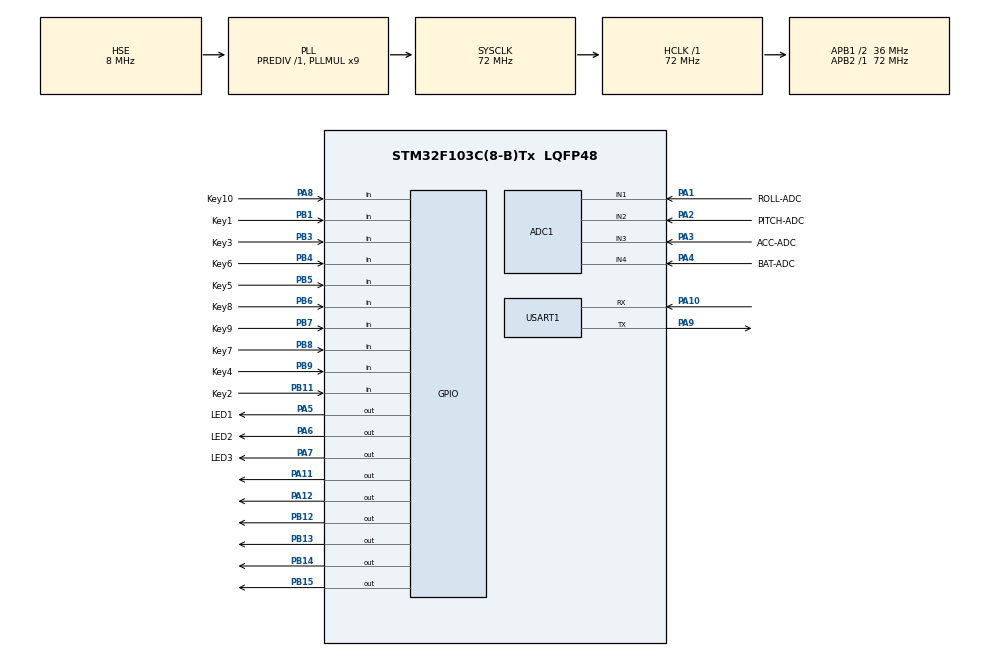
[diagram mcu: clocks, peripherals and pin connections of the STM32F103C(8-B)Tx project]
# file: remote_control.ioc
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ADC1.Channel-0\#ChannelRegularConversion=ADC_CHANNEL_1
ADC1.Channel-1\#ChannelRegularConversion=ADC_CHANNEL_2
ADC1.Channel-2\#ChannelRegularConversion=ADC_CHANNEL_3
ADC1.Channel-3\#ChannelRegularConversion=ADC_CHANNEL_4
ADC1.ContinuousConvMode=ENABLE
ADC1.NbrOfConversion=4
ADC1.NbrOfConversionFlag=1
ADC1.Rank-0\#ChannelRegularConversion=1
ADC1.Rank-1\#ChannelRegularConversion=2
ADC1.Rank-2\#ChannelRegularConversion=3
ADC1.Rank-3\#ChannelRegularConversion=4
ADC1.SamplingTime-0\#ChannelRegularConversion=ADC_SAMPLETIME_71CYCLES_5
ADC1.SamplingTime-1\#ChannelRegularConversion=ADC_SAMPLETIME_71CYCLES_5
ADC1.SamplingTime-2\#ChannelRegularConversion=ADC_SAMPLETIME_71CYCLES_5
ADC1.SamplingTime-3\#ChannelRegularConversion=ADC_SAMPLETIME_71CYCLES_5
ADC1.master=1
Dma.ADC1.0.Direction=DMA_PERIPH_TO_MEMORY
Dma.ADC1.0.Instance=DMA1_Channel1
Dma.ADC1.0.MemDataAlignment=DMA_MDATAALIGN_HALFWORD
Dma.ADC1.0.MemInc=DMA_MINC_ENABLE
Dma.ADC1.0.Mode=DMA_CIRCULAR
Dma.ADC1.0.PeriphDataAlignment=DMA_PDATAALIGN_HALFWORD
Dma.ADC1.0.PeriphInc=DMA_PINC_DISABLE
Dma.ADC1.0.Priority=DMA_PRIORITY_LOW
Dma.Request0=ADC1
Dma.Request1=USART1_RX
Dma.Request2=USART1_TX
Dma.USART1_RX.1.Direction=DMA_PERIPH_TO_MEMORY
Dma.USART1_RX.1.Instance=DMA1_Channel5
Dma.USART1_RX.1.MemDataAlignment=DMA_MDATAALIGN_BYTE
Dma.USART1_RX.1.MemInc=DMA_MINC_ENABLE
Dma.USART1_RX.1.Mode=DMA_NORMAL
Dma.USART1_RX.1.PeriphDataAlignment=DMA_PDATAALIGN_BYTE
Dma.USART1_RX.1.PeriphInc=DMA_PINC_DISABLE
Dma.USART1_RX.1.Priority=DMA_PRIORITY_LOW
Dma.USART1_TX.2.Direction=DMA_MEMORY_TO_PERIPH
Dma.USART1_TX.2.Instance=DMA1_Channel4
Dma.USART1_TX.2.MemDataAlignment=DMA_MDATAALIGN_BYTE
Dma.USART1_TX.2.MemInc=DMA_MINC_ENABLE
Dma.USART1_TX.2.Mode=DMA_NORMAL
Dma.USART1_TX.2.PeriphDataAlignment=DMA_PDATAALIGN_BYTE
Dma.USART1_TX.2.PeriphInc=DMA_PINC_DISABLE
Dma.USART1_TX.2.Priority=DMA_PRIORITY_LOW
Mcu.Family=STM32F1
Mcu.Name=STM32F103C(8-B)Tx
Mcu.Package=LQFP48
NVIC.DMA1_Channel1_IRQn=true\:0\:0\:false\:false\:true\:false\:true\:true
NVIC.DMA1_Channel4_IRQn=true\:0\:0\:false\:false\:true\:false\:true\:true
NVIC.DMA1_Channel5_IRQn=true\:0\:0\:false\:false\:true\:false\:true\:true
NVIC.PriorityGroup=NVIC_PRIORITYGROUP_4
NVIC.TIM1_UP_IRQn=true\:0\:0\:false\:false\:true\:true\:true\:true
NVIC.USART1_IRQn=true\:0\:0\:false\:false\:true\:true\:true\:true
PA1.GPIO_Label=ROLL-ADC
PA1.Signal=ADCx_IN1
PA10.Mode=Asynchronous
PA10.Signal=USART1_RX
PA11.PinState=GPIO_PIN_RESET
PA11.Signal=GPIO_Output
PA12.GPIO_ModeDefaultOutputPP=GPIO_MODE_OUTPUT_PP
PA12.GPIO_PuPd=GPIO_NOPULL
PA12.PinState=GPIO_PIN_SET
PA12.Signal=GPIO_Output
PA13.Mode=Serial_Wire
PA13.Signal=SYS_JTMS-SWDIO
PA14.Mode=Serial_Wire
PA14.Signal=SYS_JTCK-SWCLK
PA2.GPIO_Label=PITCH-ADC
PA2.Signal=ADCx_IN2
PA3.GPIO_Label=ACC-ADC
PA3.Signal=ADCx_IN3
PA4.GPIO_Label=BAT-ADC
PA4.Signal=ADCx_IN4
PA5.GPIO_Label=LED1
PA5.PinState=GPIO_PIN_SET
PA5.Signal=GPIO_Output
PA6.GPIO_Label=LED2
PA6.PinState=GPIO_PIN_SET
PA6.Signal=GPIO_Output
PA7.GPIO_Label=LED3
PA7.PinState=GPIO_PIN_SET
PA7.Signal=GPIO_Output
PA8.GPIO_Label=Key10
PA8.Signal=GPIO_Input
PA9.Mode=Asynchronous
PA9.Signal=USART1_TX
PB1.GPIO_Label=Key1
PB1.GPIO_Mode=GPIO_MODE_INPUT
PB1.GPIO_PuPd=GPIO_NOPULL
PB1.Signal=GPIO_Input
PB11.GPIO_Label=Key2
PB11.Signal=GPIO_Input
PB12.GPIO_ModeDefaultOutputPP=GPIO_MODE_OUTPUT_PP
PB12.GPIO_PuPd=GPIO_NOPULL
PB12.PinState=GPIO_PIN_RESET
PB12.Signal=GPIO_Output
PB13.GPIO_PuPd=GPIO_NOPULL
PB13.PinState=GPIO_PIN_RESET
PB13.Signal=GPIO_Output
PB14.GPIO_ModeDefaultOutputPP=GPIO_MODE_OUTPUT_PP
PB14.GPIO_PuPd=GPIO_NOPULL
PB14.PinState=GPIO_PIN_RESET
PB14.Signal=GPIO_Output
PB15.GPIO_ModeDefaultOutputPP=GPIO_MODE_OUTPUT_PP
PB15.GPIO_PuPd=GPIO_NOPULL
PB15.GPIO_Speed=GPIO_SPEED_FREQ_LOW
PB15.PinState=GPIO_PIN_RESET
PB15.Signal=GPIO_Output
PB3.GPIO_Label=Key3
PB3.Signal=GPIO_Input
PB4.GPIO_Label=Key6
PB4.Signal=GPIO_Input
PB5.GPIO_Label=Key5
PB5.Signal=GPIO_Input
PB6.GPIO_Label=Key8
PB6.Signal=GPIO_Input
PB7.GPIO_Label=Key9
PB7.Signal=GPIO_Input
PB8.GPIO_Label=Key7
PB8.Signal=GPIO_Input
PB9.GPIO_Label=Key4
PB9.Signal=GPIO_Input
PD0-OSC_IN.Mode=HSE-External-Oscillator
PD0-OSC_IN.Signal=RCC_OSC_IN
PD1-OSC_OUT.Mode=HSE-External-Oscillator
PD1-OSC_OUT.Signal=RCC_OSC_OUT
ProjectManager.HeapSize=0x200
ProjectManager.StackSize=0x400
ProjectManager.TargetToolchain=MDK-ARM V5.32
RCC.ADCPresc=RCC_ADCPCLK2_DIV6
RCC.AHBFreq_Value=72000000
RCC.APB1CLKDivider=RCC_HCLK_DIV2
RCC.APB1Freq_Value=36000000
RCC.APB1TimFreq_Value=72000000
RCC.APB2Freq_Value=72000000
RCC.APB2TimFreq_Value=72000000
RCC.HCLKFreq_Value=72000000
RCC.PLLMUL=RCC_PLL_MUL9
RCC.PLLSourceVirtual=RCC_PLLSOURCE_HSE
RCC.SYSCLKFreq_VALUE=72000000
RCC.SYSCLKSource=RCC_SYSCLKSOURCE_PLLCLK
RCC.USBFreq_Value=72000000
SH.ADCx_IN1.0=ADC1_IN1,IN1
SH.ADCx_IN2.0=ADC1_IN2,IN2
SH.ADCx_IN3.0=ADC2_IN3
SH.ADCx_IN3.1=ADC1_IN3,IN3
SH.ADCx_IN4.0=ADC1_IN4,IN4
TIM1.Period=1000-1
TIM1.Prescaler=7200-1
USART1.VirtualMode=VM_ASYNC
VP_TIM1_VS_ClockSourceINT.Mode=Internal
board=custom

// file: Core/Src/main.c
/* USER CODE BEGIN Header */
/**
  ******************************************************************************
  * @file           : main.c
  * @brief          : Main program body
  ******************************************************************************
  * @attention
  *
  * Copyright (c) 2025 STMicroelectronics.
  * All rights reserved.
  *
  * This software is licensed under terms that can be found in the LICENSE file
  * in the root directory of this software component.
  * If no LICENSE file comes with this software, it is provided AS-IS.
  *
  ******************************************************************************
  */
/* USER CODE END Header */
#include "main.h"
#include "adc.h"
#include "dma.h"
#include "tim.h"
#include "usart.h"
#include "gpio.h"

/* USER CODE BEGIN Includes */
#include "oled.h"
#include "Key.h"
#include <stdio.h>
#include <string.h>
#include "GC2400.h"
#include "UI.h"
/* USER CODE END Includes */

/* USER CODE BEGIN PV */

uint16_t Voltage_Vaule[4];//ADC读出来的数据
uint8_t Transmit_Flag = 0;//遥控器连接飞控标志位
float BAT = 0;//手柄电量
uint8_t BAT_Percent = 0;//手柄电量占比
float BAT_Plane = 0;//飞控电量
uint8_t BAT_Plane_Percent = 0;
uint16_t BAT_tem = 0;//临时变量
uint8_t Plane_message[3];//飞控发回来的数据，前两个为飞控的电量数据，后面一个为飞控连接标志

/* USER CODE END PV */

void SystemClock_Config(void);

/* USER CODE BEGIN 0 */

void HAL_TIM_PeriodElapsedCallback(TIM_HandleTypeDef *htim)
{
  if(htim == &htim1)
  {
    Key_Scanf();//按键扫描
    BAT = ((float)Voltage_Vaule[3]/4095.0*3.3/120.0*188.0);//手柄电池的电�?
    BAT_Percent = (BAT-3.0)/(4.2-3.0)*100;//计算占比
    if(BAT_Percent<=20)
    {
      HAL_GPIO_WritePin(LED3_GPIO_Port,LED3_Pin,GPIO_PIN_RESET);
    }else{
      HAL_GPIO_WritePin(LED3_GPIO_Port,LED3_Pin,GPIO_PIN_SET);
    }
    BAT_Plane = ((float)BAT_tem/4095*3.3/64.0*74.0);//飞机的电量
    BAT_Plane_Percent = (BAT_Plane-3.0)/(4.1-3.0)*100;
    if(BAT_Plane_Percent<=20)
    {
      HAL_GPIO_WritePin(LED2_GPIO_Port,LED2_Pin,GPIO_PIN_RESET);
    }else{
      HAL_GPIO_WritePin(LED2_GPIO_Port,LED2_Pin,GPIO_PIN_SET);
    }
    if(Key_OutputArray == 8 && Voltage_Vaule[2]< 2)  Transmit_Flag = !Transmit_Flag; //�????????启连接飞�????????
    if(Key_OutputArray == 5 && Voltage_Vaule[2]> 2)  Key_OutputArray = 0; //飞机解锁时油门不为接�????????0那么不生�????????
    if(Key_OutputArray == 4 && Voltage_Vaule[2]> 2)  Key_OutputArray = 0; //飞机上锁时油门不为接�????????0那么不生�????????
    if(Transmit_Flag == 1)//�??????始传输数�??????
    {
      GC2400_Tram(Voltage_Vaule,Key_OutputArray);
      HAL_GPIO_WritePin(LED1_GPIO_Port,LED1_Pin,GPIO_PIN_SET);//开启传输就把led1熄灭
    }
  }
}

void HAL_UART_RxCpltCallback(UART_HandleTypeDef *huart)//uart的普通接受中�??????
{
  if(huart == &huart1)
  {
    BAT_tem = ((uint16_t)Plane_message[0]<<8)|(uint16_t)Plane_message[1];
    HAL_GPIO_WritePin(LED1_GPIO_Port,LED1_Pin,GPIO_PIN_RESET);//接收到数据就点亮led1,led1会持续闪烁，当在传输范围的时候
    HAL_UART_Receive_DMA(&huart1,Plane_message,3);
  }
}

/* USER CODE END 0 */

int main(void)
{

  /* MCU Configuration--------------------------------------------------------*/

  /* Reset of all peripherals, Initializes the Flash interface and the Systick. */
  HAL_Init();

  /* Configure the system clock */
  SystemClock_Config();

  /* Initialize all configured peripherals */
  MX_GPIO_Init();
  MX_DMA_Init();
  MX_ADC1_Init();
  MX_TIM1_Init();
  MX_USART1_UART_Init();
  /* USER CODE BEGIN 2 */

  HAL_ADCEx_Calibration_Start(&hadc1);//ADC校准
  HAL_ADC_Start_DMA(&hadc1,(uint32_t *)Voltage_Vaule,4);//ADC�????????????始连续转�????????????
  HAL_TIM_Base_Start_IT(&htim1);
  UI_Init();
  HAL_UART_Receive_DMA(&huart1,Plane_message,3);
  // UI_Start();//正常使用时解除注�??????
  /* USER CODE END 2 */

  /* Infinite loop */
  /* USER CODE BEGIN WHILE */
  while (1)
  {
    UI_Show();
    /* USER CODE END WHILE */

  }
}

void SystemClock_Config(void)
{
  RCC_OscInitTypeDef RCC_OscInitStruct = {0};
  RCC_ClkInitTypeDef RCC_ClkInitStruct = {0};
  RCC_PeriphCLKInitTypeDef PeriphClkInit = {0};

  /** Initializes the RCC Oscillators according to the specified parameters
  * in the RCC_OscInitTypeDef structure.
  */
  RCC_OscInitStruct.OscillatorType = RCC_OSCILLATORTYPE_HSE;
  RCC_OscInitStruct.HSEState = RCC_HSE_ON;
  RCC_OscInitStruct.HSEPredivValue = RCC_HSE_PREDIV_DIV1;
  RCC_OscInitStruct.HSIState = RCC_HSI_ON;
  RCC_OscInitStruct.PLL.PLLState = RCC_PLL_ON;
  RCC_OscInitStruct.PLL.PLLSource = RCC_PLLSOURCE_HSE;
  RCC_OscInitStruct.PLL.PLLMUL = RCC_PLL_MUL9;
  if (HAL_RCC_OscConfig(&RCC_OscInitStruct) != HAL_OK)
  {
    Error_Handler();
  }

  /** Initializes the CPU, AHB and APB buses clocks
  */
  RCC_ClkInitStruct.ClockType = RCC_CLOCKTYPE_HCLK|RCC_CLOCKTYPE_SYSCLK
                              |RCC_CLOCKTYPE_PCLK1|RCC_CLOCKTYPE_PCLK2;
  RCC_ClkInitStruct.SYSCLKSource = RCC_SYSCLKSOURCE_PLLCLK;
  RCC_ClkInitStruct.AHBCLKDivider = RCC_SYSCLK_DIV1;
  RCC_ClkInitStruct.APB1CLKDivider = RCC_HCLK_DIV2;
  RCC_ClkInitStruct.APB2CLKDivider = RCC_HCLK_DIV1;

  if (HAL_RCC_ClockConfig(&RCC_ClkInitStruct, FLASH_LATENCY_2) != HAL_OK)
  {
    Error_Handler();
  }
  PeriphClkInit.PeriphClockSelection = RCC_PERIPHCLK_ADC;
  PeriphClkInit.AdcClockSelection = RCC_ADCPCLK2_DIV6;
  if (HAL_RCCEx_PeriphCLKConfig(&PeriphClkInit) != HAL_OK)
  {
    Error_Handler();
  }
}

void Error_Handler(void)
{
  __disable_irq();
  while (1)
  {
  }
}
